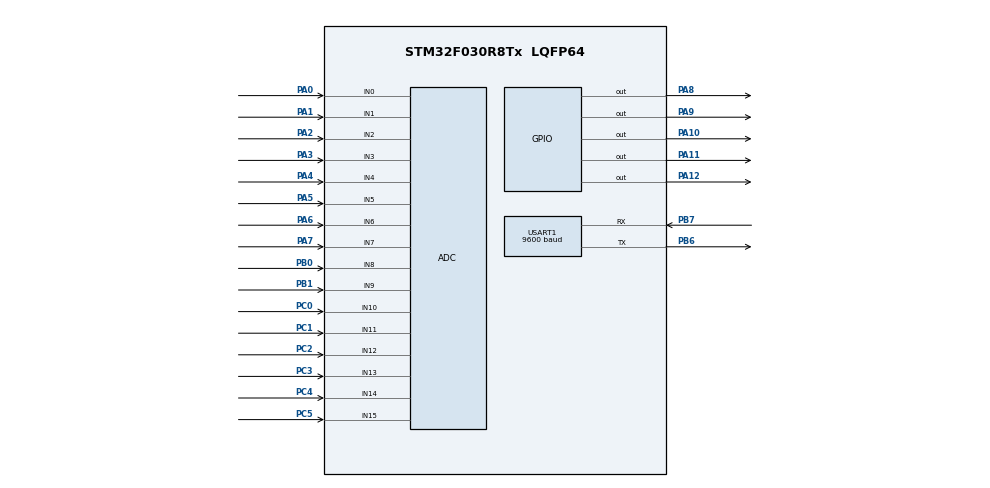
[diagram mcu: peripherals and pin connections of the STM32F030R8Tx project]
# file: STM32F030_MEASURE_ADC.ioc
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ADC.ContinuousConvMode=ENABLE
ADC.EOCSelection=ADC_EOC_SEQ_CONV
ADC.SamplingTime=ADC_SAMPLETIME_13CYCLES_5
Dma.ADC.0.Direction=DMA_PERIPH_TO_MEMORY
Dma.ADC.0.Instance=DMA1_Channel1
Dma.ADC.0.MemDataAlignment=DMA_MDATAALIGN_HALFWORD
Dma.ADC.0.MemInc=DMA_MINC_ENABLE
Dma.ADC.0.Mode=DMA_NORMAL
Dma.ADC.0.PeriphDataAlignment=DMA_PDATAALIGN_HALFWORD
Dma.ADC.0.PeriphInc=DMA_PINC_DISABLE
Dma.ADC.0.Priority=DMA_PRIORITY_LOW
Dma.Request0=ADC
Dma.Request1=USART1_RX
Dma.Request2=USART1_TX
Dma.USART1_RX.1.Direction=DMA_PERIPH_TO_MEMORY
Dma.USART1_RX.1.Instance=DMA1_Channel3
Dma.USART1_RX.1.MemDataAlignment=DMA_MDATAALIGN_BYTE
Dma.USART1_RX.1.MemInc=DMA_MINC_ENABLE
Dma.USART1_RX.1.Mode=DMA_NORMAL
Dma.USART1_RX.1.PeriphDataAlignment=DMA_PDATAALIGN_BYTE
Dma.USART1_RX.1.PeriphInc=DMA_PINC_DISABLE
Dma.USART1_RX.1.Priority=DMA_PRIORITY_LOW
Dma.USART1_TX.2.Direction=DMA_MEMORY_TO_PERIPH
Dma.USART1_TX.2.Instance=DMA1_Channel2
Dma.USART1_TX.2.MemDataAlignment=DMA_MDATAALIGN_BYTE
Dma.USART1_TX.2.MemInc=DMA_MINC_ENABLE
Dma.USART1_TX.2.Mode=DMA_NORMAL
Dma.USART1_TX.2.PeriphDataAlignment=DMA_PDATAALIGN_BYTE
Dma.USART1_TX.2.PeriphInc=DMA_PINC_DISABLE
Dma.USART1_TX.2.Priority=DMA_PRIORITY_LOW
Mcu.Family=STM32F0
Mcu.Name=STM32F030R8Tx
Mcu.Package=LQFP64
NVIC.DMA1_Channel1_IRQn=true\:0\:0\:false\:false\:true\:false\:true\:true
NVIC.DMA1_Channel2_3_IRQn=true\:0\:0\:false\:false\:true\:false\:true\:true
NVIC.TIM14_IRQn=true\:0\:0\:false\:false\:true\:true\:true\:true
NVIC.USART1_IRQn=true\:0\:0\:false\:false\:true\:true\:true\:true
PA0.Mode=IN0
PA0.Signal=ADC_IN0
PA1.Mode=IN1
PA1.Signal=ADC_IN1
PA10.Signal=GPIO_Output
PA11.Signal=GPIO_Output
PA12.Signal=GPIO_Output
PA2.Mode=IN2
PA2.Signal=ADC_IN2
PA3.Mode=IN3
PA3.Signal=ADC_IN3
PA4.Mode=IN4
PA4.Signal=ADC_IN4
PA5.Mode=IN5
PA5.Signal=ADC_IN5
PA6.Mode=IN6
PA6.Signal=ADC_IN6
PA7.Mode=IN7
PA7.Signal=ADC_IN7
PA8.Signal=GPIO_Output
PA9.Signal=GPIO_Output
PB0.Mode=IN8
PB0.Signal=ADC_IN8
PB1.Mode=IN9
PB1.Signal=ADC_IN9
PB6.Mode=Asynchronous
PB6.Signal=USART1_TX
PB7.Mode=Asynchronous
PB7.Signal=USART1_RX
PC0.Mode=IN10
PC0.Signal=ADC_IN10
PC1.Mode=IN11
PC1.Signal=ADC_IN11
PC2.Mode=IN12
PC2.Signal=ADC_IN12
PC3.Mode=IN13
PC3.Signal=ADC_IN13
PC4.Mode=IN14
PC4.Signal=ADC_IN14
PC5.Mode=IN15
PC5.Signal=ADC_IN15
ProjectManager.HeapSize=0x200
ProjectManager.StackSize=0x400
ProjectManager.TargetToolchain=STM32CubeIDE
TIM14.Period=8000
TIM14.Prescaler=999
USART1.BaudRate=9600
USART1.VirtualMode-Asynchronous=VM_ASYNC
VP_ADC_TempSens_Input.Mode=IN-TempSens
VP_ADC_Vref_Input.Mode=IN-Vrefint
VP_TIM14_VS_ClockSourceINT.Mode=Enable_Timer
board=custom

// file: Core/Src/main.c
/* USER CODE BEGIN Header */
/**
  ******************************************************************************
  * @file           : main.c
  * @brief          : Main program body
  ******************************************************************************
  * @attention
  *
  * Copyright (c) 2022 STMicroelectronics.
  * All rights reserved.
  *
  * This software is licensed under terms that can be found in the LICENSE file
  * in the root directory of this software component.
  * If no LICENSE file comes with this software, it is provided AS-IS.
  *
  ******************************************************************************
  */
/* USER CODE END Header */
#include "main.h"
#include "adc.h"
#include "dma.h"
#include "tim.h"
#include "usart.h"
#include "gpio.h"

/* USER CODE BEGIN Includes */
#include "nortos.h"
#include <stdio.h>
#include <string.h>
/* USER CODE END Includes */

/* USER CODE BEGIN PD */
#define ADC_CNANNELS 		16
#define UART_BUFFER_LEN 	200
/* USER CODE END PD */

/* USER CODE BEGIN PV */
volatile uint16_t adcBuffer[ADC_CNANNELS];
volatile uint32_t countADC_bufferN = 0;
char txBufferUART[UART_BUFFER_LEN];
/* USER CODE END PV */

void SystemClock_Config(void);

/* USER CODE BEGIN 0 */
void getADC_data(void){
	  if(HAL_ADC_Start_DMA(&hadc, (uint32_t *)adcBuffer, ADC_CNANNELS) != HAL_OK)
		  Error_Handler();
}

void printUART(void){
	txBufferUART[0] = '\0';
	sprintf(txBufferUART,"%ld,",countADC_bufferN);
	for(int i = 0; i < ADC_CNANNELS; i++){
		if(i < ADC_CNANNELS - 1 )
			sprintf(&txBufferUART[strlen(txBufferUART)],"%d,",adcBuffer[i]);
		else
			sprintf(&txBufferUART[strlen(txBufferUART)],"%d\n",adcBuffer[i]);
	}
	if(HAL_UART_Transmit_DMA(&huart1, (uint8_t *)txBufferUART, strlen(txBufferUART)) != HAL_OK)
		Error_Handler();
}

void HAL_UART_TxCpltCallback(UART_HandleTypeDef *huart)
{
  ;
}

void HAL_UART_TxHalfCpltCallback(UART_HandleTypeDef *huart)
{
  ;
}

/* USER CODE END 0 */

int main(void)
{

  /* MCU Configuration--------------------------------------------------------*/

  /* Reset of all peripherals, Initializes the Flash interface and the Systick. */
  HAL_Init();

  /* Configure the system clock */
  SystemClock_Config();

  /* Initialize all configured peripherals */
  MX_GPIO_Init();
  MX_DMA_Init();
  MX_ADC_Init();
  MX_USART1_UART_Init();
  MX_TIM14_Init();
  /* USER CODE BEGIN 2 */

  if(HAL_ADCEx_Calibration_Start(&hadc) != HAL_OK)
	  Error_Handler();

  if(HAL_TIM_Base_Start_IT(&htim14) != HAL_OK)
	  Error_Handler();

  pFastQueueIni();

  /* USER CODE END 2 */

  /* Infinite loop */
  /* USER CODE BEGIN WHILE */
  while (1)
  {
	  F_pull()();

    /* USER CODE END WHILE */

  }
}

void SystemClock_Config(void)
{
  RCC_OscInitTypeDef RCC_OscInitStruct = {0};
  RCC_ClkInitTypeDef RCC_ClkInitStruct = {0};
  RCC_PeriphCLKInitTypeDef PeriphClkInit = {0};

  /** Initializes the RCC Oscillators according to the specified parameters
  * in the RCC_OscInitTypeDef structure.
  */
  RCC_OscInitStruct.OscillatorType = RCC_OSCILLATORTYPE_HSI|RCC_OSCILLATORTYPE_HSI14;
  RCC_OscInitStruct.HSIState = RCC_HSI_ON;
  RCC_OscInitStruct.HSI14State = RCC_HSI14_ON;
  RCC_OscInitStruct.HSICalibrationValue = RCC_HSICALIBRATION_DEFAULT;
  RCC_OscInitStruct.HSI14CalibrationValue = 16;
  RCC_OscInitStruct.PLL.PLLState = RCC_PLL_NONE;
  if (HAL_RCC_OscConfig(&RCC_OscInitStruct) != HAL_OK)
  {
    Error_Handler();
  }

  /** Initializes the CPU, AHB and APB buses clocks
  */
  RCC_ClkInitStruct.ClockType = RCC_CLOCKTYPE_HCLK|RCC_CLOCKTYPE_SYSCLK
                              |RCC_CLOCKTYPE_PCLK1;
  RCC_ClkInitStruct.SYSCLKSource = RCC_SYSCLKSOURCE_HSI;
  RCC_ClkInitStruct.AHBCLKDivider = RCC_SYSCLK_DIV1;
  RCC_ClkInitStruct.APB1CLKDivider = RCC_HCLK_DIV1;

  if (HAL_RCC_ClockConfig(&RCC_ClkInitStruct, FLASH_LATENCY_0) != HAL_OK)
  {
    Error_Handler();
  }
  PeriphClkInit.PeriphClockSelection = RCC_PERIPHCLK_USART1;
  PeriphClkInit.Usart1ClockSelection = RCC_USART1CLKSOURCE_PCLK1;
  if (HAL_RCCEx_PeriphCLKConfig(&PeriphClkInit) != HAL_OK)
  {
    Error_Handler();
  }
}

/* USER CODE BEGIN 4 */
void HAL_ADC_ConvCpltCallback(ADC_HandleTypeDef *hadc)
{
	++countADC_bufferN;
}

void HAL_TIM_PeriodElapsedCallback(TIM_HandleTypeDef *htim){
	if (htim == &htim14){
		F_push(getADC_data);
		F_push(printUART);
	}
}
/* USER CODE END 4 */

void Error_Handler(void)
{
  __disable_irq();
  while (1)
  {
  }
}
